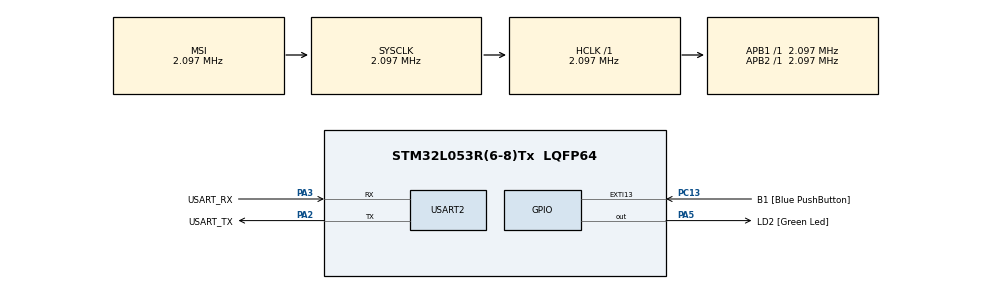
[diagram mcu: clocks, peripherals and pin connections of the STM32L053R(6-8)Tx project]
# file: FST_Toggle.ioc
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Mcu.Family=STM32L0
Mcu.Name=STM32L053R(6-8)Tx
Mcu.Package=LQFP64
PA13.GPIO_Label=TMS
PA13.Mode=Serial_Wire
PA13.Signal=SYS_SWDIO
PA14.GPIO_Label=TCK
PA14.Mode=Serial_Wire
PA14.Signal=SYS_SWCLK
PA2.GPIO_Label=USART_TX
PA2.Mode=Asynchronous
PA2.Signal=USART2_TX
PA3.GPIO_Label=USART_RX
PA3.Mode=Asynchronous
PA3.Signal=USART2_RX
PA5.GPIO_Label=LD2 [Green Led]
PA5.Signal=GPIO_Output
PC13.GPIO_Label=B1 [Blue PushButton]
PC13.GPIO_ModeDefaultEXTI=GPIO_MODE_IT_FALLING
PC13.Signal=GPXTI13
PC14-OSC32_IN.Mode=LSE-External-Oscillator
PC14-OSC32_IN.Signal=RCC_OSC32_IN
PC15-OSC32_OUT.Mode=LSE-External-Oscillator
PC15-OSC32_OUT.Signal=RCC_OSC32_OUT
PH0-OSC_IN.Mode=HSE-External-Clock-Source
PH0-OSC_IN.Signal=RCC_OSC_IN
PH1-OSC_OUT.Signal=RCC_OSC_OUT
ProjectManager.HeapSize=0x200
ProjectManager.StackSize=0x400
ProjectManager.TargetToolchain=STM32CubeIDE
RCC.AHBFreq_Value=2097000
RCC.APB1Freq_Value=2097000
RCC.APB1TimFreq_Value=2097000
RCC.APB2Freq_Value=2097000
RCC.APB2TimFreq_Value=2097000
RCC.HSE_VALUE=8000000
RCC.HSI16_VALUE=16000000
RCC.HSI48_VALUE=48000000
RCC.HSI_VALUE=16000000
RCC.MSI_VALUE=2097000
RCC.SYSCLKFreq_VALUE=2097000
RCC.VCOOutputFreq_Value=48000000
USART2.VirtualMode-Asynchronous=VM_ASYNC
VP_RTC_VS_RTC_Activate.Mode=RTC_Enabled
board=NUCLEO-L053R8

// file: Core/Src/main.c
/* USER CODE BEGIN Header */
/**
  ******************************************************************************
  * @file           : main.c
  * @brief          : Main program body
  ******************************************************************************
  * @attention
  *
  * <h2><center>&copy; Copyright (c) 2021 STMicroelectronics.
  * All rights reserved.</center></h2>
  *
  * This software component is licensed by ST under BSD 3-Clause license,
  * the "License"; You may not use this file except in compliance with the
  * License. You may obtain a copy of the License at:
  *                        opensource.org/licenses/BSD-3-Clause
  *
  ******************************************************************************
  */
/* USER CODE END Header */
#include "main.h"

/* USER CODE BEGIN Includes */
#include "rtc_lib.h"
#include "pb_lib.h"
#include "fsm_toggle.h"
/* USER CODE END Includes */

RTC_HandleTypeDef hrtc;

UART_HandleTypeDef huart2;

/* USER CODE BEGIN PV */
fsm_toggle fsm;
/* USER CODE END PV */

void SystemClock_Config(void);
static void MX_GPIO_Init(void);
static void MX_USART2_UART_Init(void);
static void MX_RTC_Init(void);
/* USER CODE BEGIN PFP */
int __io_putchar(int ch);
int _write(int file,char *ptr, int len);
/* USER CODE END PFP */

int main(void)
{

  /* MCU Configuration--------------------------------------------------------*/

  /* Reset of all peripherals, Initializes the Flash interface and the Systick. */
  HAL_Init();

  /* Configure the system clock */
  SystemClock_Config();

  /* Initialize all configured peripherals */
  MX_GPIO_Init();
  MX_USART2_UART_Init();
  MX_RTC_Init();

  /* Infinite loop */
  /* USER CODE BEGIN WHILE */

  fsm_toggle_init(&fsm, B1_GPIO_Port, B1_Pin, &hrtc, LD2_GPIO_Port, LD2_Pin);
  while (1)
  {
	  fsm_toggle_call(&fsm);
	  HAL_Delay(10);
    /* USER CODE END WHILE */

  }
}

void SystemClock_Config(void)
{
  RCC_OscInitTypeDef RCC_OscInitStruct = {0};
  RCC_ClkInitTypeDef RCC_ClkInitStruct = {0};
  RCC_PeriphCLKInitTypeDef PeriphClkInit = {0};

  /** Configure the main internal regulator output voltage
  */
  __HAL_PWR_VOLTAGESCALING_CONFIG(PWR_REGULATOR_VOLTAGE_SCALE1);
  /** Initializes the RCC Oscillators according to the specified parameters
  * in the RCC_OscInitTypeDef structure.
  */
  RCC_OscInitStruct.OscillatorType = RCC_OSCILLATORTYPE_LSI|RCC_OSCILLATORTYPE_MSI;
  RCC_OscInitStruct.LSIState = RCC_LSI_ON;
  RCC_OscInitStruct.MSIState = RCC_MSI_ON;
  RCC_OscInitStruct.MSICalibrationValue = 0;
  RCC_OscInitStruct.MSIClockRange = RCC_MSIRANGE_5;
  RCC_OscInitStruct.PLL.PLLState = RCC_PLL_NONE;
  if (HAL_RCC_OscConfig(&RCC_OscInitStruct) != HAL_OK)
  {
    Error_Handler();
  }
  /** Initializes the CPU, AHB and APB buses clocks
  */
  RCC_ClkInitStruct.ClockType = RCC_CLOCKTYPE_HCLK|RCC_CLOCKTYPE_SYSCLK
                              |RCC_CLOCKTYPE_PCLK1|RCC_CLOCKTYPE_PCLK2;
  RCC_ClkInitStruct.SYSCLKSource = RCC_SYSCLKSOURCE_MSI;
  RCC_ClkInitStruct.AHBCLKDivider = RCC_SYSCLK_DIV1;
  RCC_ClkInitStruct.APB1CLKDivider = RCC_HCLK_DIV1;
  RCC_ClkInitStruct.APB2CLKDivider = RCC_HCLK_DIV1;

  if (HAL_RCC_ClockConfig(&RCC_ClkInitStruct, FLASH_LATENCY_0) != HAL_OK)
  {
    Error_Handler();
  }
  PeriphClkInit.PeriphClockSelection = RCC_PERIPHCLK_USART2|RCC_PERIPHCLK_RTC;
  PeriphClkInit.Usart2ClockSelection = RCC_USART2CLKSOURCE_PCLK1;
  PeriphClkInit.RTCClockSelection = RCC_RTCCLKSOURCE_LSI;
  if (HAL_RCCEx_PeriphCLKConfig(&PeriphClkInit) != HAL_OK)
  {
    Error_Handler();
  }
}

static void MX_RTC_Init(void)
{

  /** Initialize RTC Only
  */
  hrtc.Instance = RTC;
  hrtc.Init.HourFormat = RTC_HOURFORMAT_24;
  hrtc.Init.AsynchPrediv = 127;
  hrtc.Init.SynchPrediv = 255;
  hrtc.Init.OutPut = RTC_OUTPUT_DISABLE;
  hrtc.Init.OutPutRemap = RTC_OUTPUT_REMAP_NONE;
  hrtc.Init.OutPutPolarity = RTC_OUTPUT_POLARITY_HIGH;
  hrtc.Init.OutPutType = RTC_OUTPUT_TYPE_OPENDRAIN;
  if (HAL_RTC_Init(&hrtc) != HAL_OK)
  {
    Error_Handler();
  }

}

static void MX_USART2_UART_Init(void)
{

  huart2.Instance = USART2;
  huart2.Init.BaudRate = 115200;
  huart2.Init.WordLength = UART_WORDLENGTH_8B;
  huart2.Init.StopBits = UART_STOPBITS_1;
  huart2.Init.Parity = UART_PARITY_NONE;
  huart2.Init.Mode = UART_MODE_TX_RX;
  huart2.Init.HwFlowCtl = UART_HWCONTROL_NONE;
  huart2.Init.OverSampling = UART_OVERSAMPLING_16;
  huart2.Init.OneBitSampling = UART_ONE_BIT_SAMPLE_DISABLE;
  huart2.AdvancedInit.AdvFeatureInit = UART_ADVFEATURE_NO_INIT;
  if (HAL_UART_Init(&huart2) != HAL_OK)
  {
    Error_Handler();
  }

}

static void MX_GPIO_Init(void)
{
  GPIO_InitTypeDef GPIO_InitStruct = {0};

  /* GPIO Ports Clock Enable */
  __HAL_RCC_GPIOC_CLK_ENABLE();
  __HAL_RCC_GPIOH_CLK_ENABLE();
  __HAL_RCC_GPIOA_CLK_ENABLE();

  /*Configure GPIO pin Output Level */
  HAL_GPIO_WritePin(LD2_GPIO_Port, LD2_Pin, GPIO_PIN_RESET);

  /*Configure GPIO pin : B1_Pin */
  GPIO_InitStruct.Pin = B1_Pin;
  GPIO_InitStruct.Mode = GPIO_MODE_IT_FALLING;
  GPIO_InitStruct.Pull = GPIO_NOPULL;
  HAL_GPIO_Init(B1_GPIO_Port, &GPIO_InitStruct);

  /*Configure GPIO pin : LD2_Pin */
  GPIO_InitStruct.Pin = LD2_Pin;
  GPIO_InitStruct.Mode = GPIO_MODE_OUTPUT_PP;
  GPIO_InitStruct.Pull = GPIO_NOPULL;
  GPIO_InitStruct.Speed = GPIO_SPEED_FREQ_LOW;
  HAL_GPIO_Init(LD2_GPIO_Port, &GPIO_InitStruct);

}

/* USER CODE BEGIN 4 */
int __io_putchar(int ch)
{
 uint8_t c[1];
 c[0] = ch & 0x00FF;
 HAL_UART_Transmit(&huart2, c, 1, 10);
 return ch;
}
int _write(int file,char *ptr, int len)
{
 int DataIdx;
 for(DataIdx= 0; DataIdx< len; DataIdx++)
 {
 __io_putchar(*ptr++);
 }
}
/* USER CODE END 4 */

void Error_Handler(void)
{
}

/************************ (C) COPYRIGHT STMicroelectronics *****END OF FILE****/
